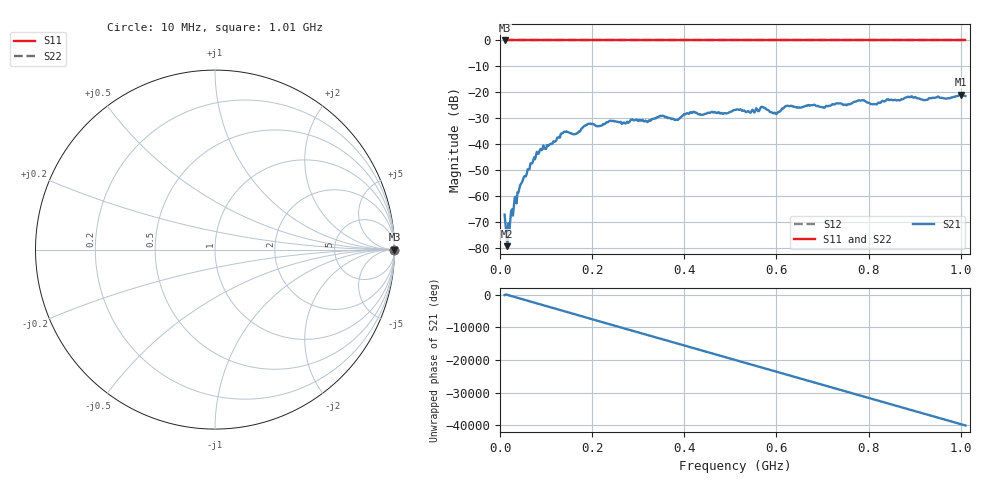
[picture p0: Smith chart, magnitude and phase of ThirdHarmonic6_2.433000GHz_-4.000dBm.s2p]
! 8/17/2025 4:13:37 AM
! C:\ANRITSUVNA\TEMP\TEMP.S2P
! CHANNEL.1
! TR.MEASUREMENT
! RAW.DATA
! RF.CORRECTION.OFF
! AVERAGING.OFF
! IF.BANDWIDTH: 5KHZ
! SWEEPTYPE:  FREQ.SWEEP(Linear)
! Reference Plane Port Info
! PORT:  PORT1  PORT2
! DISTANCE:  0  m  0  m
! TIME:  0  s  0  s
! PHASE.OFFSET:  0  deg.  0  deg.
! LOSS:  0  dB  0  dB
! REF.LOSS:  0  dB  0  dB
! REF.FREQ:  0  Hz  0  Hz
! Power Info
! POWER:  -20  dBm  -20  dBm
! EFF.POWER:  -20  dBm  -20  dBm
! SOURCE.ATTEN:  0  dB  0  dB
! TEST.ATTEN:  0  dB  0  dB
# GHZ S RI R 50.0
! FREQ.GHZ  S11RE  S11IM  S21RE  S21IM  S12RE  S12IM  S22RE  S22IM
!; PortSelection: Port_12
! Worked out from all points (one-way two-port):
!   501 points, 10 MHz to 1.01 GHz, reference 50 ohm
!   highest |S21| = -20.82 dB at 1 GHz (marker M1); lowest = -79.2 dB at 16 MHz (marker M2)
!   lowest |S11| = 0.0 dB at 10 MHz (marker M3)
!   |S11| at or under -10 dB: nowhere
!   |S22| runs from 0.0 to 0.0 dB; largest |S21 - S12| = 1.1
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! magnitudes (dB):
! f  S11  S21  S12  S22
! 10 MHz  0.0  -67.0  0.0  0.0
! 16 MHz  0.0  -79.2  0.0  0.0
! 28 MHz  0.0  -67.5  0.0  0.0
! 42 MHz  0.0  -56.9  0.0  0.0
! 84 MHz  0.0  -43.6  0.0  0.0
! 136 MHz  0.0  -35.8  0.0  0.0
! 162 MHz  0.0  -36.1  0.0  0.0
! 178 MHz  0.0  -33.7  0.0  0.0
! 194 MHz  0.0  -32.0  0.0  0.0
! 344 MHz  0.0  -29.5  0.0  0.0
! 382 MHz  0.0  -30.5  0.0  0.0
! 416 MHz  0.0  -27.9  0.0  0.0
! 510 MHz  0.0  -26.8  0.0  0.0
! 570 MHz  0.0  -25.6  0.0  0.0
! 598 MHz  0.0  -28.2  0.0  0.0
! 622 MHz  0.0  -25.2  0.0  0.0
! 678 MHz  0.0  -24.9  0.0  0.0
! 786 MHz  0.0  -23.0  0.0  0.0
! 814 MHz  0.0  -24.5  0.0  0.0
! 844 MHz  0.0  -22.9  0.0  0.0
! 1 GHz  0.0  -20.8  0.0  0.0
! 1.01 GHz  0.0  -21.4  0.0  0.0
